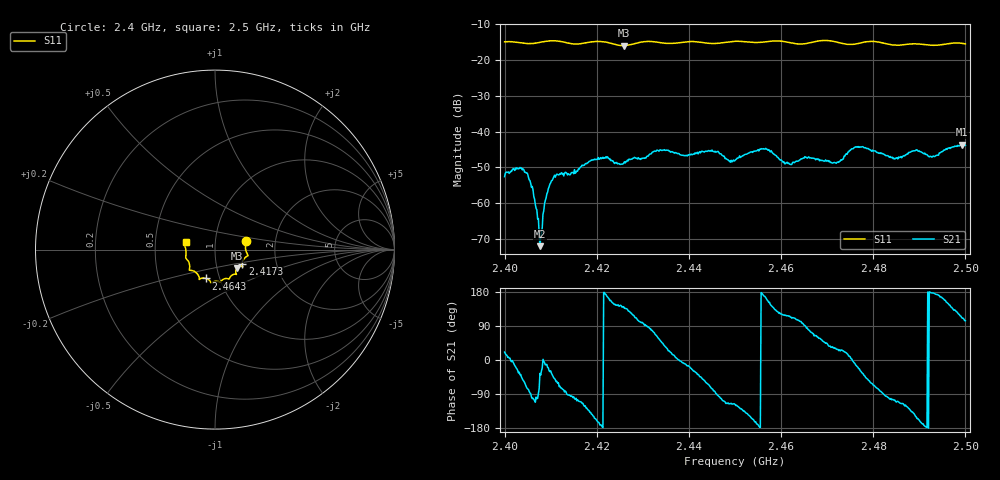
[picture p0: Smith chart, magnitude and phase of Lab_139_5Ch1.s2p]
# Hz S RI R 50
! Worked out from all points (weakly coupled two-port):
!   601 points, 2.4 GHz to 2.5 GHz, reference 50 ohm
!   highest |S21| = -43.72 dB at 2.4992 GHz (marker M1); lowest = -72.1 dB at 2.4077 GHz (marker M2)
!   lowest |S11| = -15.9 dB at 2.4258 GHz (marker M3), VSWR 1.38, Z = 62.3 - j13.2 ohm
!   |S11| at or under -10 dB: start of sweep to end of sweep
!   S12 and S22 are empty: the file has one direction only
!   S11 on the Smith chart (normalised r, x): 2.4 GHz: 1.41, +0.15; 2.4173 GHz: 1.34, -0.23; 2.4643 GHz: 0.86, -0.28; 2.5 GHz: 0.72, +0.06
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2.4e9  0.1734 0.0497  0.00219 0.00083  0 0  0 0
2.404667e9  0.1702 0.0176  0.000926 -0.00247  0 0  0 0
2.406e9  0.1707 0.00107  -0.00035 -0.00167  0 0  0 0
2.407667e9  0.1766 -0.0177  0.000203 -0.000144  0 0  0 0
2.409167e9  0.182 -0.0295  0.00131 -0.000275  0 0  0 0
2.410333e9  0.1835 -0.0331  0.00161 -0.00131  0 0  0 0
2.416667e9  0.1529 -0.0747  -0.00119 -0.00304  0 0  0 0
2.417333e9  0.1524 -0.0822  -0.00181 -0.00286  0 0  0 0
2.421833e9  0.1523 -0.0946  -0.00424 0.000458  0 0  0 0
2.425833e9  0.1213 -0.1035  -0.00278 0.00229  0 0  0 0
2.433333e9  0.1129 -0.1367  0.00288 0.00458  0 0  0 0
2.45e9  0.0298 -0.181  -0.0018 -0.00349  0 0  0 0
2.456167e9  -0.00789 -0.1788  -0.00568 0.000968  0 0  0 0
2.461e9  -0.026 -0.1782  -0.0017 0.00316  0 0  0 0
2.464333e9  -0.05 -0.1604  -0.000831 0.00407  0 0  0 0
2.466667e9  -0.0761 -0.16  0.00127 0.00403  0 0  0 0
2.472167e9  -0.0881 -0.1549  0.00328 0.00176  0 0  0 0
2.476667e9  -0.1238 -0.1174  0.0057 -0.00197  0 0  0 0
2.483333e9  -0.1409 -0.0892  -0.00075 -0.00444  0 0  0 0
2.493e9  -0.1607 -0.0139  -0.00453 0.000243  0 0  0 0
2.499167e9  -0.1681 0.0375  -0.0025 0.00602  0 0  0 0
2.5e9  -0.1637 0.0422  -0.00149 0.00622  0 0  0 0
